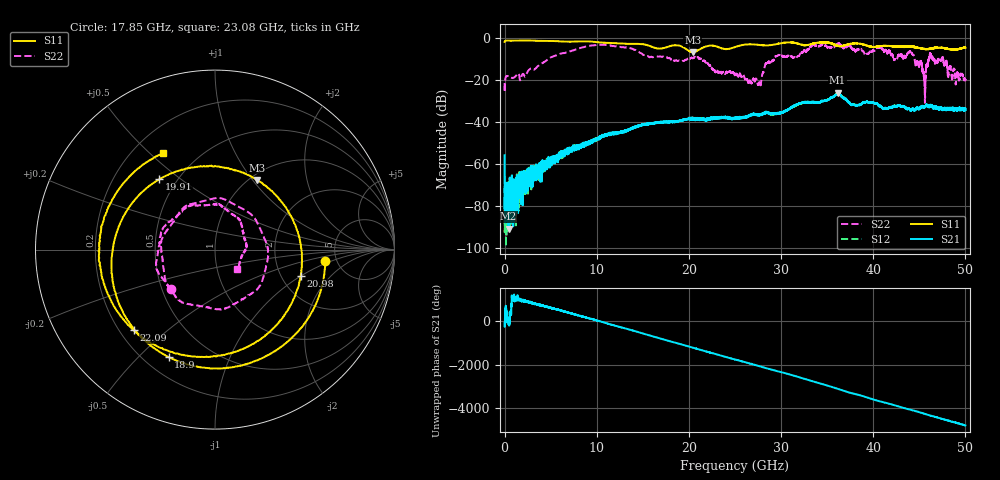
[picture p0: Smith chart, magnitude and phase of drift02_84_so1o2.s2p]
!Created with skrf (http://scikit-rf.org).
# Hz S RI R 50.0
!freq ReS11 ImS11 ReS21 ImS21 ReS12 ImS12 ReS22 ImS22
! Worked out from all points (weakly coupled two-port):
!   10001 points, 300 kHz to 50 GHz, reference 50 ohm
!   highest |S21| = -26.20 dB at 36.13 GHz (marker M1); lowest = -90.6 dB at 425.3 MHz (marker M2)
!   lowest |S11| = -6.9 dB at 20.41 GHz (marker M3), VSWR 2.65, Z = 53.8 + j52.4 ohm
!   |S11| at or under -10 dB: nowhere
!   |S22| runs from -31.0 to -2.6 dB; largest |S21 - S12| = 0.0048
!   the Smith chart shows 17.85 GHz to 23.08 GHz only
!   S11 on the Smith chart (normalised r, x): 17.85 GHz: 4.04, -0.85; 18.9 GHz: 0.30, -0.62; 19.91 GHz: 0.40, +0.42; 20.98 GHz: 2.56, -0.99; 22.09 GHz: 0.26, -0.39; 23.08 GHz: 0.32, +0.55
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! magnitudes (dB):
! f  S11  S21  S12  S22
! 300 kHz  -2.1  -55.8  -65.7  -21.7
! 425.3 MHz  -1.4  -90.6  -71.4  -18.4
! 8.335 GHz  -1.7  -51.2  -50.9  -4.7
! 16.67 GHz  -5.2  -40.2  -40.4  -9.0
! 17.85 GHz  -4.2  -39.9  -40.0  -9.6
! 18.9 GHz  -3.7  -39.5  -39.7  -10.8
! 19.91 GHz  -6.0  -38.5  -38.6  -9.9
! 20.41 GHz  -6.9  -38.2  -38.4  -9.8
! 20.98 GHz  -6.0  -38.7  -38.8  -9.3
! 22.09 GHz  -3.9  -39.1  -38.5  -12.5
! 23.08 GHz  -4.3  -38.0  -38.1  -15.7
! 25 GHz  -4.5  -37.9  -37.9  -17.7
! 27.63 GHz  -3.5  -36.9  -36.6  -21.2
! 29.54 GHz  -3.0  -36.0  -35.9  -8.8
! 33.34 GHz  -3.0  -30.7  -30.5  -3.8
! 36.13 GHz  -3.9  -26.2  -26.8  -3.2
! 41.67 GHz  -3.9  -33.3  -33.4  -6.1
! 44.14 GHz  -4.2  -34.4  -34.4  -7.0
! 45.52 GHz  -5.4  -33.0  -32.8  -19.2
! 46.19 GHz  -5.3  -32.2  -32.3  -7.4
! 47.33 GHz  -4.8  -33.9  -33.5  -11.0
! 50 GHz  -4.7  -34.3  -34.2  -20.2
